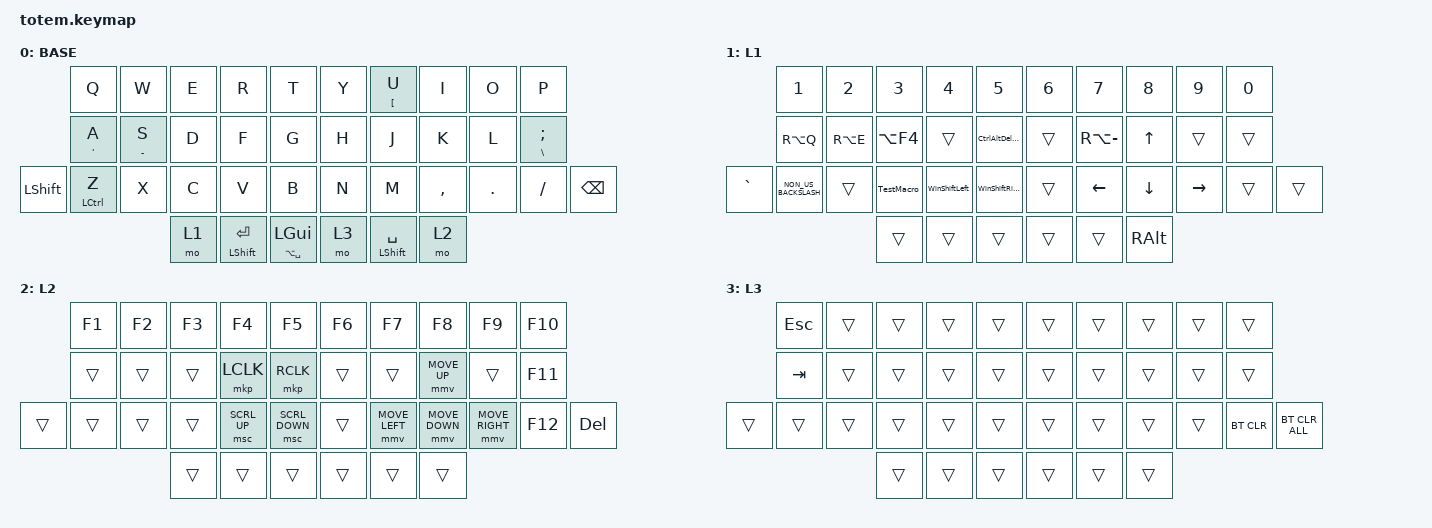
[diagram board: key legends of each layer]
//
//                                                        ▀▀▀▀▀     ▀▀▀▀▀          ▀▀█▀▀
//                                                        ▄▀▀▀▄  ▄  ▄▀▀▀▄  ▄  ▄▀▀▀▄  █  ▄▀▀▀▄
//                                                        █   █  █  █   █  █  █   █  █  █   █
//                                                         ▀▀▀   █   ▀▀▀   █   ▀▀▀   ▀   ▀▀▀
//                                                               █      ▄▄▄█▄▄▄    █   █  
//                                                               ▀      █  █  █     █▄█
//                                                             ▀▀▀▀▀    █  █  █      ▀
//                                                                      ▀  ▀  ▀
//
// ▄▄▄▄▄▄▄▄▄▄▄▄▄▄▄▄▄▄▄▄▄▄▄▄▄▄▄▄▄▄▄▄▄▄▄▄▄▄▄▄▄▄▄▄▄▄▄▄▄▄▄▄▄▄▄▄▄▄▄▄▄▄▄▄▄▄▄▄▄▄▄▄▄▄▄▄▄▄▄▄▄▄▄▄▄▄▄▄▄▄▄▄▄▄▄▄▄▄▄▄▄▄▄▄▄▄▄▄▄▄▄▄▄▄▄▄▄▄▄▄▄▄▄▄▄▄▄▄▄▄▄▄▄▄▄▄▄▄▄▄▄▄▄▄▄▄▄▄▄

#include <behaviors.dtsi>
#include <dt-bindings/zmk/bt.h>
#include <dt-bindings/zmk/keys.h>
#include <dt-bindings/zmk/pointing.h>

#define BASE 0
#define NAV  1
#define SYM  2
#define ADJ  3
#define TVP1 4
#define TVP2 5

&mt {
    quick-tap-ms = <100>;
    global-quick-tap;
    flavor = "tap-preferred";
    tapping-term-ms = <170>;
};

/ {
    combos {
        compatible = "zmk,combos";

        QuestionMark {
            bindings = <&kp LS(MINUS)>;
            key-positions = <13 5>;
        };
    };

    macros {
        WinShiftLeft: WinShiftLeft {
            compatible = "zmk,behavior-macro";
            #binding-cells = <0>;
            bindings = <&kp LEFT_GUI &kp LEFT_SHIFT &kp LEFT_ARROW>;
            label = "WINSHIFTLEFT";
        };

        WinShiftRight: WinShiftRight {
            compatible = "zmk,behavior-macro";
            #binding-cells = <0>;
            bindings = <&kp LEFT_GUI &kp LEFT_SHIFT &kp RIGHT_ARROW>;
            label = "WINSHIFTRIGHT";
        };

        CtrlAltDelete: CtrlAltDelete {
            compatible = "zmk,behavior-macro";
            #binding-cells = <0>;
            bindings = <&kp LCTRL &kp LEFT_ALT &kp DELETE>;
            label = "CTRLALTDELETE";
        };

        TestMacro: TestMacro {
            compatible = "zmk,behavior-macro";
            #binding-cells = <0>;
            bindings = <&kp NUMBER_1 &kp NUMBER_3 &kp NUMBER_3 &kp NUMBER_7 &kp NUMBER_0 &kp NUMBER_8>;
            label = "TESTMACRO";
        };
    };

    keymap {
        compatible = "zmk,keymap";

        // ▄▄▄▄▄▄▄▄▄▄▄▄▄▄▄▄▄▄▄▄▄▄▄▄▄▄▄▄▄▄▄▄▄▄▄▄▄▄▄▄▄▄▄▄▄▄▄▄▄▄▄▄▄▄▄▄▄▄▄▄▄▄▄▄▄▄▄▄▄▄▄▄▄▄▄▄▄▄▄▄▄▄▄▄▄▄▄▄▄▄▄▄▄▄▄▄▄▄▄▄▄▄▄▄▄▄▄▄▄▄▄▄▄▄▄▄▄▄▄▄▄▄▄▄▄▄▄▄▄▄▄▄▄▄▄▄▄▄▄▄▄▄▄▄▄▄▄▄▄

        L0 {
            // ┏━━━━━━━━━━━━━━━━━━━━━━━━━━━━━━━━━━━━━━━┓

            label = "BASE";

            // ┗━━━━━━━━━━━━━━━━━━━━━━━━━━━━━━━━━━━━━━━┛
            //             ┏━━━━━━━━━━━┳━━━━━━━━━━━┳━━━━━━━━━━━┳━━━━━━━━━━━┳━━━━━━━━━━━┓   ┏━━━━━━━━━━━┳━━━━━━━━━━━┳━━━━━━━━━━━┳━━━━━━━━━━━┳━━━━━━━━━━━┓
            //             ┃     Q     ┃     W     ┃     F     ┃     P     ┃     G     ┃   ┃     J     ┃     L     ┃     U     ┃     Y     ┃     ;     ┃
            //             ┣━━━━━━━━━━━╋━━━━━━━━━━━╋━━━━━━━━━━━╋━━━━━━━━━━━╋━━━━━━━━━━━┫   ┣━━━━━━━━━━━╋━━━━━━━━━━━╋━━━━━━━━━━━╋━━━━━━━━━━━╋━━━━━━━━━━━┫
            //             ┃     A     ┃     R     ┃     S     ┃     T     ┃     D     ┃   ┃     H     ┃     N     ┃     E     ┃     I     ┃     O     ┃
            // ┏━━━━━━━━━━━╋━━━━━━━━━━━╋━━━━━━━━━━━╋━━━━━━━━━━━╋━━━━━━━━━━━╋━━━━━━━━━━━┫   ┣━━━━━━━━━━━╋━━━━━━━━━━━╋━━━━━━━━━━━╋━━━━━━━━━━━╋━━━━━━━━━━━╋━━━━━━━━━━━┓
            // ┃     Q     ┃     Z     ┃     X     ┃     C     ┃     V     ┃     B     ┃   ┃     K     ┃     M     ┃     ,     ┃     .     ┃     /     ┃     \     ┃
            // ┗━━━━━━━━━━━┻━━━━━━━━━━━┻━━━━━━━━━━━╋━━━━━━━━━━━╋━━━━━━━━━━━╋━━━━━━━━━━━┫   ┣━━━━━━━━━━━╋━━━━━━━━━━━╋━━━━━━━━━━━╋━━━━━━━━━━━┻━━━━━━━━━━━┻━━━━━━━━━━━┛
            //                                     ┃    DEL    ┃    TAB    ┃    SPC    ┃   ┃   ENTER   ┃           ┃   BSPC    ┃
            //                                     ┗━━━━━━━━━━━┻━━━━━━━━━━━┻━━━━━━━━━━━┛   ┗━━━━━━━━━━━┻━━━━━━━━━━━┻━━━━━━━━━━━┛

            bindings = <
                &kp Q               &kp W        &kp E  &kp R                 &kp T                     &kp Y  &mt LEFT_BRACKET U    &kp I      &kp O    &kp P
                &mt SINGLE_QUOTE A  &mt MINUS S  &kp D  &kp F                 &kp G                     &kp H  &kp J                 &kp K      &kp L    &mt BSLH SEMICOLON
&kp LEFT_SHIFT  &mt LCTRL Z         &kp X        &kp C  &kp V                 &kp B                     &kp N  &kp M                 &kp COMMA  &kp DOT  &kp FSLH            &kp BACKSPACE
                                                 &mo 1  &mt LEFT_SHIFT ENTER  &mt LA(SPACE) LEFT_GUI    &mo 3  &mt LEFT_SHIFT SPACE  &mo 2
            >;
        };

        // ▄▄▄▄▄▄▄▄▄▄▄▄▄▄▄▄▄▄▄▄▄▄▄▄▄▄▄▄▄▄▄▄▄▄▄▄▄▄▄▄▄▄▄▄▄▄▄▄▄▄▄▄▄▄▄▄▄▄▄▄▄▄▄▄▄▄▄▄▄▄▄▄▄▄▄▄▄▄▄▄▄▄▄▄▄▄▄▄▄▄▄▄▄▄▄▄▄▄▄▄▄▄▄▄▄▄▄▄▄▄▄▄▄▄▄▄▄▄▄▄▄▄▄▄▄▄▄▄▄▄▄▄▄▄▄▄▄▄▄▄▄▄▄▄▄▄▄▄▄
        // ▄▄▄▄▄▄▄▄▄▄▄▄▄▄▄▄▄▄▄▄▄▄▄▄▄▄▄▄▄▄▄▄▄▄▄▄▄▄▄▄▄▄▄▄▄▄▄▄▄▄▄▄▄▄▄▄▄▄▄▄▄▄▄▄▄▄▄▄▄▄▄▄▄▄▄▄▄▄▄▄▄▄▄▄▄▄▄▄▄▄▄▄▄▄▄▄▄▄▄▄▄▄▄▄▄▄▄▄▄▄▄▄▄▄▄▄▄▄▄▄▄▄▄▄▄▄▄▄▄▄▄▄▄▄▄▄▄▄▄▄▄▄▄▄▄▄▄▄▄
        // ▄▄▄▄▄▄▄▄▄▄▄▄▄▄▄▄▄▄▄▄▄▄▄▄▄▄▄▄▄▄▄▄▄▄▄▄▄▄▄▄▄▄▄▄▄▄▄▄▄▄▄▄▄▄▄▄▄▄▄▄▄▄▄▄▄▄▄▄▄▄▄▄▄▄▄▄▄▄▄▄▄▄▄▄▄▄▄▄▄▄▄▄▄▄▄▄▄▄▄▄▄▄▄▄▄▄▄▄▄▄▄▄▄▄▄▄▄▄▄▄▄▄▄▄▄▄▄▄▄▄▄▄▄▄▄▄▄▄▄▄▄▄▄▄▄▄▄▄▄
        // ▄▄▄▄▄▄▄▄▄▄▄▄▄▄▄▄▄▄▄▄▄▄▄▄▄▄▄▄▄▄▄▄▄▄▄▄▄▄▄▄▄▄▄▄▄▄▄▄▄▄▄▄▄▄▄▄▄▄▄▄▄▄▄▄▄▄▄▄▄▄▄▄▄▄▄▄▄▄▄▄▄▄▄▄▄▄▄▄▄▄▄▄▄▄▄▄▄▄▄▄▄▄▄▄▄▄▄▄▄▄▄▄▄▄▄▄▄▄▄▄▄▄▄▄▄▄▄▄▄▄▄▄▄▄▄▄▄▄▄▄▄▄▄▄▄▄▄▄▄
        // ▄▄▄▄▄▄▄▄▄▄▄▄▄▄▄▄▄▄▄▄▄▄▄▄▄▄▄▄▄▄▄▄▄▄▄▄▄▄▄▄▄▄▄▄▄▄▄▄▄▄▄▄▄▄▄▄▄▄▄▄▄▄▄▄▄▄▄▄▄▄▄▄▄▄▄▄▄▄▄▄▄▄▄▄▄▄▄▄▄▄▄▄▄▄▄▄▄▄▄▄▄▄▄▄▄▄▄▄▄▄▄▄▄▄▄▄▄▄▄▄▄▄▄▄▄▄▄▄▄▄▄▄▄▄▄▄▄▄▄▄▄▄▄▄▄▄▄▄▄

        L1 {
            bindings = <
           &kp NUMBER_1          &kp NUMBER_2  &kp NUMBER_3  &kp NUMBER_4   &kp NUMBER_5      &kp NUMBER_6  &kp NUMBER_7    &kp NUMBER_8    &kp NUMBER_9     &kp NUMBER_0
           &kp RA(Q)             &kp RA(E)     &kp LA(F4)    &trans         &CtrlAltDelete    &trans        &kp RA(MINUS)   &kp UP_ARROW    &trans           &trans
&kp GRAVE  &kp NON_US_BACKSLASH  &trans        &TestMacro    &WinShiftLeft  &WinShiftRight    &trans        &kp LEFT_ARROW  &kp DOWN_ARROW  &kp RIGHT_ARROW  &trans        &trans
                                               &trans        &trans         &trans            &trans        &trans          &kp RALT
            >;
        };

        L2 {
            bindings = <
        &kp F1  &kp F2  &kp F3  &kp F4        &kp F5            &kp F6  &kp F7          &kp F8          &kp F9           &kp F10
        &trans  &trans  &trans  &mkp LCLK     &mkp RCLK         &trans  &trans          &mmv MOVE_UP    &trans           &kp F11
&trans  &trans  &trans  &trans  &msc SCRL_UP  &msc SCRL_DOWN    &trans  &mmv MOVE_LEFT  &mmv MOVE_DOWN  &mmv MOVE_RIGHT  &kp F12  &kp DELETE
                        &trans  &trans        &trans            &trans  &trans          &trans
            >;
        };

        L3 {
            bindings = <
        &kp ESCAPE  &trans  &trans  &trans  &trans    &trans  &trans  &trans  &trans  &trans
        &kp TAB     &trans  &trans  &trans  &trans    &trans  &trans  &trans  &trans  &trans
&trans  &trans      &trans  &trans  &trans  &trans    &trans  &trans  &trans  &trans  &bt BT_CLR  &bt BT_CLR_ALL
                            &trans  &trans  &trans    &trans  &trans  &trans
            >;
        };
    };
};
